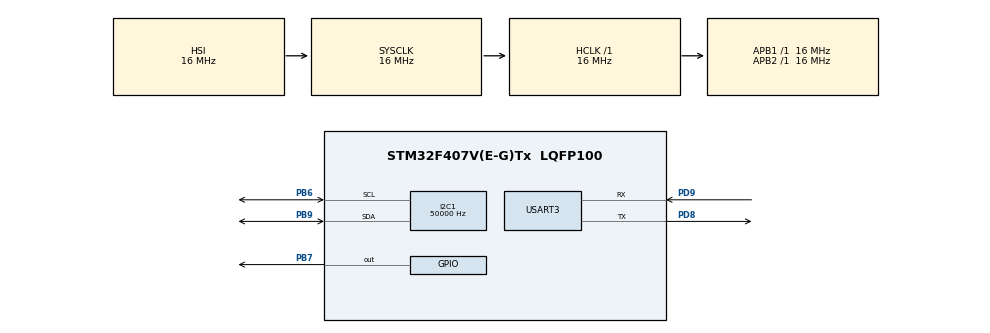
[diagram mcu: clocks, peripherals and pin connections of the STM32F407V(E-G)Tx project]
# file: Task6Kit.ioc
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I2C1.ClockSpeed=50000
Mcu.Family=STM32F4
Mcu.Name=STM32F407V(E-G)Tx
Mcu.Package=LQFP100
NVIC.PriorityGroup=NVIC_PRIORITYGROUP_4
NVIC.USART3_IRQn=true\:0\:0\:false\:false\:true\:true\:true\:true
PB6.Mode=I2C
PB6.Signal=I2C1_SCL
PB7.Signal=GPIO_Output
PB9.Mode=I2C
PB9.Signal=I2C1_SDA
PD8.Mode=Asynchronous
PD8.Signal=USART3_TX
PD9.Mode=Asynchronous
PD9.Signal=USART3_RX
ProjectManager.HeapSize=0x200
ProjectManager.StackSize=0x400
ProjectManager.TargetToolchain=STM32CubeIDE
RCC.AHBFreq_Value=16000000
RCC.APB1Freq_Value=16000000
RCC.APB2Freq_Value=16000000
RCC.CortexFreq_Value=16000000
RCC.HSE_VALUE=25000000
RCC.HSI_VALUE=16000000
RCC.LSE_VALUE=32768
RCC.SYSCLKFreq_VALUE=16000000
RCC.VCOOutputFreq_Value=192000000
USART3.VirtualMode=VM_ASYNC
board=custom

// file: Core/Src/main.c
/* USER CODE BEGIN Header */
/**
  ******************************************************************************
  * @file           : main.c
  * @brief          : Main program body
  ******************************************************************************
  * @attention
  *
  * Copyright (c) 2023 STMicroelectronics.
  * All rights reserved.
  *
  * This software is licensed under terms that can be found in the LICENSE file
  * in the root directory of this software component.
  * If no LICENSE file comes with this software, it is provided AS-IS.
  *
  ******************************************************************************
  */
/* USER CODE END Header */
#include "main.h"

/* USER CODE BEGIN Includes */
#include "i2clib.h"
/* USER CODE END Includes */

I2C_HandleTypeDef hi2c1;

UART_HandleTypeDef huart3;

/* USER CODE BEGIN PV */
uint16_t dutyPercent = 50;
uint16_t PWMFreq = 100;
char valuestr [6];
/* USER CODE END PV */

void SystemClock_Config(void);
static void MX_GPIO_Init(void);
static void MX_I2C1_Init(void);
static void MX_USART3_UART_Init(void);

int main(void)
{

  /* MCU Configuration--------------------------------------------------------*/

  /* Reset of all peripherals, Initializes the Flash interface and the Systick. */
  HAL_Init();

  /* Configure the system clock */
  SystemClock_Config();

  /* Initialize all configured peripherals */
  MX_GPIO_Init();
  MX_I2C1_Init();
  MX_USART3_UART_Init();

  /* Infinite loop */
  /* USER CODE BEGIN WHILE */
  HAL_Delay(10);

  HAL_GPIO_WritePin(GPIOB, GPIO_PIN_7, GPIO_PIN_RESET);

  uint8_t devID = 0x80;
  uint8_t TxBuffer[8];
	  HAL_UART_Transmit(&huart3, (uint8_t *)"If you want off LEDs send b", 27, 10);
	  HAL_UART_Transmit(&huart3, (uint8_t *)"\r\n", 2, 10);
	  HAL_UART_Transmit(&huart3, (uint8_t *)"If you want on LEDs send o", 26, 10);
	  HAL_UART_Transmit(&huart3, (uint8_t *)"\r\n", 2, 10);
	  HAL_UART_Transmit(&huart3, (uint8_t *)"If you want set frequency send f", 32, 10);
	  HAL_UART_Transmit(&huart3, (uint8_t *)"\r\n", 2, 10);
	  HAL_UART_Transmit(&huart3, (uint8_t *)"If you want set Duty cycle send d", 33, 10);
	  HAL_UART_Transmit(&huart3, (uint8_t *)"\r\n", 2, 10);

  while (1)
  {
	  uint8_t Buf[1];
	  uint8_t BufFreq[1];
	  uint8_t BufDuty[1];
	  	  HAL_StatusTypeDef result;
	  	  result = HAL_UART_Receive(&huart3, Buf, 1, 10);
	  	  if (result == HAL_OK)
	  	  {
	  		  switch (Buf[0])
	  		  {
	  		  	  case 'f':
	  		  		  HAL_UART_Transmit(&huart3, (uint8_t *)"Current frequency is: ", 22, 10);
	  		  		  sprintf(valuestr, "%d", PWMFreq);
	  		  		  HAL_UART_Transmit(&huart3, (uint8_t *)valuestr, 3, 10);
	  		  		  HAL_UART_Transmit(&huart3, (uint8_t *)"\r\n", 2, 10);
	  		  		  HAL_UART_Transmit(&huart3, (uint8_t *)"To increase send +", 18, 10);
	  		  		  HAL_UART_Transmit(&huart3, (uint8_t *)"\r\n", 2, 10);
	  		  		  HAL_UART_Transmit(&huart3, (uint8_t *)"To reduce send -", 16, 10);
	  		  		  HAL_UART_Transmit(&huart3, (uint8_t *)"\r\n", 2, 10);
	  		  		  HAL_UART_Transmit(&huart3, (uint8_t *)"To exit send x", 14, 10);
	  		  		  HAL_UART_Transmit(&huart3, (uint8_t *)"\r\n", 2, 10);
	  		  		  while(1)
	  		  		  {
	  		  			  result = HAL_UART_Receive(&huart3, BufFreq, 1, 10);
	  		  			  if (result == HAL_OK)
	  		  			  {
	  		  				  if (BufFreq[0] == 'x')
	  		  					  break;

	  		  				  switch (BufFreq[0])
	  		  				  {
	  		  				  	  case '+':
	  		  				  		  PWMFreq+=50;
	  		  				  		  sprintf(valuestr, "%d", PWMFreq);
	  		  				  		  HAL_UART_Transmit(&huart3, (uint8_t *)valuestr, 3, 10);
	  		  				  		  HAL_UART_Transmit(&huart3, (uint8_t *)"\r\n", 2, 10);
	  		  				  		  break;
	  		  				  	  case '-':
	  		  				  		  PWMFreq-=50;
	  		  				  		  sprintf(valuestr, "%d", PWMFreq);
	  		  				  		  HAL_UART_Transmit(&huart3, (uint8_t *)valuestr, 3, 10);
	  		  				  		  HAL_UART_Transmit(&huart3, (uint8_t *)"\r\n", 2, 10);
	  		  				  		  break;
	  		  				  	  default:
	  		  				  		  HAL_UART_Transmit(&huart3, (uint8_t *)"UnexpCmd\r\n", 8, 10);
	  		  				  		  break;
	  		  				  }
	  		  				  setFreq(PWMFreq);
	  		  			  }
	  		  		  }
	  		  		  break;
	  		  	  case 'd':
	  		  		  HAL_UART_Transmit(&huart3, (uint8_t *)"Current Duty cycle is: ", 23, 10);
	  		  		  sprintf(valuestr, "%d", dutyPercent);
	  		  		  HAL_UART_Transmit(&huart3, (uint8_t *)valuestr, 3, 10);
	  		  		  HAL_UART_Transmit(&huart3, (uint8_t *)"\r\n", 2, 10);
	  		  		  HAL_UART_Transmit(&huart3, (uint8_t *)"To increase send +", 18, 10);
	  		  		  HAL_UART_Transmit(&huart3, (uint8_t *)"\r\n", 2, 10);
	  		  		  HAL_UART_Transmit(&huart3, (uint8_t *)"To reduce send -", 16, 10);
	  		  		  HAL_UART_Transmit(&huart3, (uint8_t *)"\r\n", 2, 10);
	  		  		  HAL_UART_Transmit(&huart3, (uint8_t *)"To exit send x", 14, 10);
	  		  		  HAL_UART_Transmit(&huart3, (uint8_t *)"\r\n", 2, 10);
	  		  		  while(1)
	  		  		  {
	  		  			  result = HAL_UART_Receive(&huart3, BufDuty, 1, 10);
	  		  			  if (result == HAL_OK)
	  		  			  {
	  		  				  if (BufDuty[0] == 'x')
	  		  					  break;

	  		  				  switch (BufDuty[0])
	  		  				  {
	  		  				  	  case '+':
	  		  				  		  dutyPercent+=10;
	  		  				  		  sprintf(valuestr, "%d", dutyPercent);
	  		  				  		  HAL_UART_Transmit(&huart3, (uint8_t *)valuestr, 3, 10);
	  		  				  		  HAL_UART_Transmit(&huart3, (uint8_t *)"\r\n", 2, 10);
	  		  				  		  break;
	  		  				  	  case '-':
	  		  				  		  dutyPercent-=10;
	  		  				  		  sprintf(valuestr, "%d", dutyPercent);
	  		  				  		  HAL_UART_Transmit(&huart3, (uint8_t *)valuestr, 3, 10);
	  		  				  		  HAL_UART_Transmit(&huart3, (uint8_t *)"\r\n", 2, 10);
	  		  				  		  break;
	  		  				  	  default:
	  		  				  		  HAL_UART_Transmit(&huart3, (uint8_t *)"UnexpCmd\r\n", 8, 10);
	  		  				  		  break;
	  		  				  }
	  		  				  setDuty(dutyPercent);
	  		  			  }
	  		  		  }
	  		  		  break;
	  		  	  case 'o':
	  		  		  turnOn();
	  		  		  break;

	  		  	  case 'b':
	  		  		  turnOff();
	  		  		  break;

	  		  	  default:
	  		  		  HAL_UART_Transmit(&huart3, (uint8_t *)"UnexpCmd\r\n", 8, 10);
	  		  		  break;
	  		  }
	  	  }
    /* USER CODE END WHILE */

  }
}

void SystemClock_Config(void)
{
  RCC_OscInitTypeDef RCC_OscInitStruct = {0};
  RCC_ClkInitTypeDef RCC_ClkInitStruct = {0};

  /** Configure the main internal regulator output voltage
  */
  __HAL_RCC_PWR_CLK_ENABLE();
  __HAL_PWR_VOLTAGESCALING_CONFIG(PWR_REGULATOR_VOLTAGE_SCALE1);

  /** Initializes the RCC Oscillators according to the specified parameters
  * in the RCC_OscInitTypeDef structure.
  */
  RCC_OscInitStruct.OscillatorType = RCC_OSCILLATORTYPE_HSI;
  RCC_OscInitStruct.HSIState = RCC_HSI_ON;
  RCC_OscInitStruct.HSICalibrationValue = RCC_HSICALIBRATION_DEFAULT;
  RCC_OscInitStruct.PLL.PLLState = RCC_PLL_NONE;
  if (HAL_RCC_OscConfig(&RCC_OscInitStruct) != HAL_OK)
  {
    Error_Handler();
  }

  /** Initializes the CPU, AHB and APB buses clocks
  */
  RCC_ClkInitStruct.ClockType = RCC_CLOCKTYPE_HCLK|RCC_CLOCKTYPE_SYSCLK
                              |RCC_CLOCKTYPE_PCLK1|RCC_CLOCKTYPE_PCLK2;
  RCC_ClkInitStruct.SYSCLKSource = RCC_SYSCLKSOURCE_HSI;
  RCC_ClkInitStruct.AHBCLKDivider = RCC_SYSCLK_DIV1;
  RCC_ClkInitStruct.APB1CLKDivider = RCC_HCLK_DIV1;
  RCC_ClkInitStruct.APB2CLKDivider = RCC_HCLK_DIV1;

  if (HAL_RCC_ClockConfig(&RCC_ClkInitStruct, FLASH_LATENCY_0) != HAL_OK)
  {
    Error_Handler();
  }
}

static void MX_I2C1_Init(void)
{

  hi2c1.Instance = I2C1;
  hi2c1.Init.ClockSpeed = 50000;
  hi2c1.Init.DutyCycle = I2C_DUTYCYCLE_2;
  hi2c1.Init.OwnAddress1 = 0;
  hi2c1.Init.AddressingMode = I2C_ADDRESSINGMODE_7BIT;
  hi2c1.Init.DualAddressMode = I2C_DUALADDRESS_DISABLE;
  hi2c1.Init.OwnAddress2 = 0;
  hi2c1.Init.GeneralCallMode = I2C_GENERALCALL_DISABLE;
  hi2c1.Init.NoStretchMode = I2C_NOSTRETCH_DISABLE;
  if (HAL_I2C_Init(&hi2c1) != HAL_OK)
  {
    Error_Handler();
  }

}

static void MX_USART3_UART_Init(void)
{

  huart3.Instance = USART3;
  huart3.Init.BaudRate = 115200;
  huart3.Init.WordLength = UART_WORDLENGTH_8B;
  huart3.Init.StopBits = UART_STOPBITS_1;
  huart3.Init.Parity = UART_PARITY_NONE;
  huart3.Init.Mode = UART_MODE_TX_RX;
  huart3.Init.HwFlowCtl = UART_HWCONTROL_NONE;
  huart3.Init.OverSampling = UART_OVERSAMPLING_16;
  if (HAL_UART_Init(&huart3) != HAL_OK)
  {
    Error_Handler();
  }

}

static void MX_GPIO_Init(void)
{
  GPIO_InitTypeDef GPIO_InitStruct = {0};

  /* GPIO Ports Clock Enable */
  __HAL_RCC_GPIOD_CLK_ENABLE();
  __HAL_RCC_GPIOB_CLK_ENABLE();

  /*Configure GPIO pin Output Level */
  HAL_GPIO_WritePin(GPIOB, GPIO_PIN_7, GPIO_PIN_RESET);

  /*Configure GPIO pin : PB7 */
  GPIO_InitStruct.Pin = GPIO_PIN_7;
  GPIO_InitStruct.Mode = GPIO_MODE_OUTPUT_PP;
  GPIO_InitStruct.Pull = GPIO_NOPULL;
  GPIO_InitStruct.Speed = GPIO_SPEED_FREQ_LOW;
  HAL_GPIO_Init(GPIOB, &GPIO_InitStruct);

}

void Error_Handler(void)
{
  __disable_irq();
  while (1)
  {
  }
}
